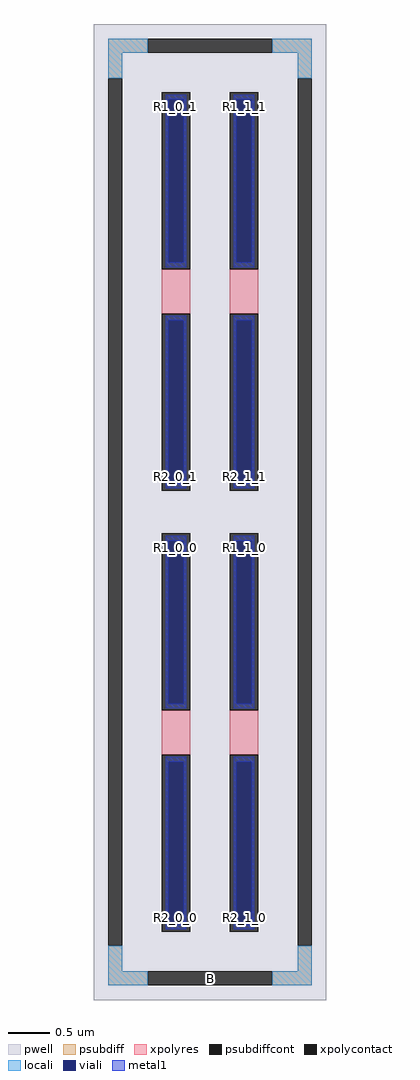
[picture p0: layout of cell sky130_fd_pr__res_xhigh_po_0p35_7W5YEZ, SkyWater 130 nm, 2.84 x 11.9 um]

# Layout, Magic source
magic
tech sky130A
magscale 1 2
<< pwell >>
rect -284 -1190 284 1190
<< psubdiff >>
rect -248 1120 -152 1154
rect 152 1120 248 1154
rect -248 1058 -214 1120
rect 214 1058 248 1120
rect -248 -1120 -214 -1058
rect 214 -1120 248 -1058
rect -248 -1154 -152 -1120
rect 152 -1154 248 -1120
<< psubdiffcont >>
rect -152 1120 152 1154
rect -248 -1058 -214 1058
rect 214 -1058 248 1058
rect -152 -1154 152 -1120
<< xpolycontact >>
rect -118 592 -48 1024
rect -118 52 -48 484
rect 48 592 118 1024
rect 48 52 118 484
rect -118 -484 -48 -52
rect -118 -1024 -48 -592
rect 48 -484 118 -52
rect 48 -1024 118 -592
<< xpolyres >>
rect -118 484 -48 592
rect 48 484 118 592
rect -118 -592 -48 -484
rect 48 -592 118 -484
<< locali >>
rect -248 1120 -152 1154
rect 152 1120 248 1154
rect -248 1058 -214 1120
rect 214 1058 248 1120
rect -248 -1120 -214 -1058
rect 214 -1120 248 -1058
rect -248 -1154 -152 -1120
rect 152 -1154 248 -1120
<< viali >>
rect -102 609 -64 1006
rect 64 609 102 1006
rect -102 70 -64 467
rect 64 70 102 467
rect -102 -467 -64 -70
rect 64 -467 102 -70
rect -102 -1006 -64 -609
rect 64 -1006 102 -609
<< metal1 >>
rect -108 1006 -58 1018
rect -108 609 -102 1006
rect -64 609 -58 1006
rect -108 597 -58 609
rect 58 1006 108 1018
rect 58 609 64 1006
rect 102 609 108 1006
rect 58 597 108 609
rect -108 467 -58 479
rect -108 70 -102 467
rect -64 70 -58 467
rect -108 58 -58 70
rect 58 467 108 479
rect 58 70 64 467
rect 102 70 108 467
rect 58 58 108 70
rect -108 -70 -58 -58
rect -108 -467 -102 -70
rect -64 -467 -58 -70
rect -108 -479 -58 -467
rect 58 -70 108 -58
rect 58 -467 64 -70
rect 102 -467 108 -70
rect 58 -479 108 -467
rect -108 -609 -58 -597
rect -108 -1006 -102 -609
rect -64 -1006 -58 -609
rect -108 -1018 -58 -1006
rect 58 -609 108 -597
rect 58 -1006 64 -609
rect 102 -1006 108 -609
rect 58 -1018 108 -1006
<< labels >>
rlabel psubdiffcont 0 -1137 0 -1137 0 B
port 1 nsew
rlabel xpolycontact -83 -87 -83 -87 0 R1_0_0
port 2 nsew
rlabel xpolycontact -83 -989 -83 -989 0 R2_0_0
port 3 nsew
rlabel xpolycontact -83 989 -83 989 0 R1_0_1
port 4 nsew
rlabel xpolycontact -83 87 -83 87 0 R2_0_1
port 5 nsew
rlabel xpolycontact 83 -87 83 -87 0 R1_1_0
port 6 nsew
rlabel xpolycontact 83 -989 83 -989 0 R2_1_0
port 7 nsew
rlabel xpolycontact 83 989 83 989 0 R1_1_1
port 8 nsew
rlabel xpolycontact 83 87 83 87 0 R2_1_1
port 9 nsew
<< properties >>
string FIXED_BBOX -231 -1137 231 1137
string gencell sky130_fd_pr__res_xhigh_po_0p35
string library sky130
string parameters w 0.350 l 0.700 m 2 nx 2 wmin 0.350 lmin 0.50 class resistor rho 2000 val 5.075k dummy 0 dw 0.0 term 188.2 sterm 0.0 caplen 0 wmax 0.350 guard 1 glc 1 grc 1 gtc 1 gbc 1 compatible {sky130_fd_pr__res_xhigh_po_0p35  sky130_fd_pr__res_xhigh_po_0p69 sky130_fd_pr__res_xhigh_po_1p41  sky130_fd_pr__res_xhigh_po_2p85 sky130_fd_pr__res_xhigh_po_5p73} snake 0 full_metal 1 n_guard 0 hv_guard 0 vias 1 viagb 0 viagt 0 viagl 0 viagr 0 doports 1
<< end >>
